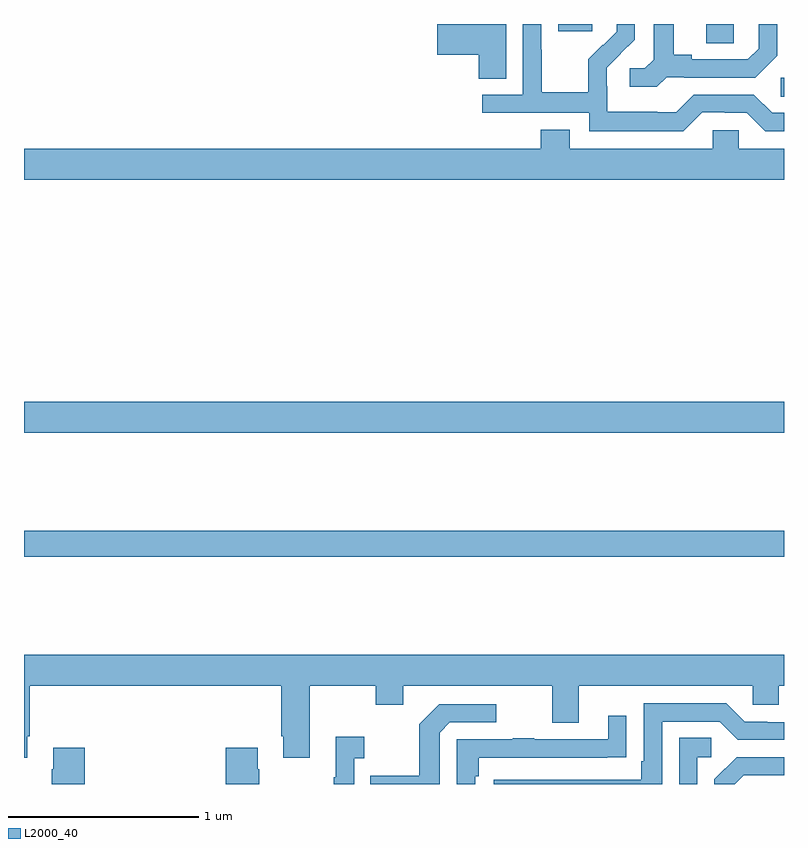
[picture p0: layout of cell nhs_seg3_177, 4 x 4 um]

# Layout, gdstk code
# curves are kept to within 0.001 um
import gdstk
lib = gdstk.Library(unit=1e-6, precision=1e-09)
def R(c, l, rs):  # rectangles x0, y0, x1, y1
    for r in rs: c.add(gdstk.rectangle(r[:2], r[2:], *l))
def P(c, l, *ps):  # polygons
    for p in ps: c.add(gdstk.Polygon(p, *l))
L2000_40 = (2000, 40)

nhs_seg3_177 = lib.new_cell('nhs_seg3_177')
R(nhs_seg3_177, L2000_40, [(119,701.596,123,701.732), (119,702.248,123,702.412), (122.982,704.017,123,704.118), (122.591,704.299,122.736,704.4), (121.811,704.361,121.99,704.4)])
P(nhs_seg3_177, L2000_40, [(122.571,703.935),(122.687,703.935),(122.687,703.932),(122.805,703.932),(122.901,703.836),(123,703.836),(123,703.932),(122.937,703.932),(122.841,704.028),(122.526,704.028),(122.433,703.935),(122.333,703.935),(122.333,703.939),(122.07,703.939),(122.07,704.073),(122.068,704.073),(122.068,704.17),(122.214,704.318),(122.214,704.4),(122.12,704.4),(122.12,704.36),(122.049,704.289),(122.046,704.292),(121.969,704.215),(121.969,704.041),(121.725,704.041),(121.725,704.264),(121.722,704.264),(121.722,704.4),(121.626,704.4),(121.626,704.028),(121.413,704.028),(121.413,703.932),(121.974,703.932),(121.974,703.835),(122.471,703.835)],
  [(121.537,704.4),(121.176,704.4),(121.176,704.237),(121.394,704.237),(121.394,704.113),(121.537,704.113)],
  [(122.382,704.121),(122.476,704.121),(122.476,704.118),(122.848,704.118),(122.964,704.234),(122.964,704.4),(122.867,704.4),(122.867,704.271),(122.81,704.214),(122.515,704.214),(122.515,704.237),(122.419,704.237),(122.419,704.4),(122.315,704.4),(122.315,704.213),(122.268,704.166),(122.187,704.166),(122.187,704.069),(122.33,704.069)],
  [(123,703.744),(122.763,703.744),(122.763,703.842),(122.625,703.842),(122.625,703.744),(121.873,703.744),(121.873,703.843),(121.721,703.843),(121.721,703.744),(119,703.744),(119,703.58),(123,703.58)],
  [(119.017,700.651),(119.03,700.651),(119.03,700.916),(120.353,700.916),(120.353,700.651),(120.365,700.651),(120.365,700.539),(120.505,700.539),(120.505,700.916),(120.85,700.916),(120.85,700.817),(120.997,700.817),(120.997,700.916),(121.781,700.916),(121.781,700.722),(121.921,700.722),(121.921,700.916),(122.835,700.916),(122.835,700.818),(122.973,700.818),(122.973,700.916),(123,700.916),(123,701.08),(119,701.08),(119,700.539),(119.017,700.539)],
  [(122.358,700.728),(122.661,700.728),(122.757,700.632),(123,700.632),(123,700.725),(122.912,700.725),(122.912,700.728),(122.793,700.728),(122.697,700.824),(122.262,700.824),(122.262,700.519),(122.249,700.519),(122.249,700.422),(121.473,700.422),(121.473,700.4),(122.358,700.4)],
  [(121.188,700.671),(121.242,700.725),(121.486,700.725),(121.486,700.821),(121.185,700.821),(121.08,700.715),(121.08,700.443),(120.823,700.443),(120.823,700.4),(121.188,700.4)],
  [(121.374,700.442),(121.394,700.442),(121.394,700.539),(122.069,700.539),(122.069,700.54),(122.171,700.54),(122.171,700.759),(122.075,700.759),(122.075,700.635),(121.685,700.635),(121.685,700.64),(121.573,700.64),(121.573,700.635),(121.278,700.635),(121.278,700.4),(121.374,700.4)],
  [(120.738,700.535),(120.79,700.535),(120.79,700.648),(120.641,700.648),(120.641,700.435),(120.63,700.435),(120.63,700.4),(120.738,700.4)],
  [(122.544,700.542),(122.617,700.542),(122.617,700.643),(122.448,700.643),(122.448,700.4),(122.544,700.4)],
  [(119.321,700.591),(119.153,700.591),(119.153,700.478),(119.146,700.478),(119.146,700.4),(119.321,700.4)],
  [(120.237,700.478),(120.229,700.478),(120.229,700.591),(120.062,700.591),(120.062,700.4),(120.237,700.4)],
  [(122.788,700.446),(123,700.446),(123,700.542),(122.75,700.542),(122.634,700.426),(122.634,700.4),(122.742,700.4)])

lib.write_gds('nhs_seg3_177.gds')
